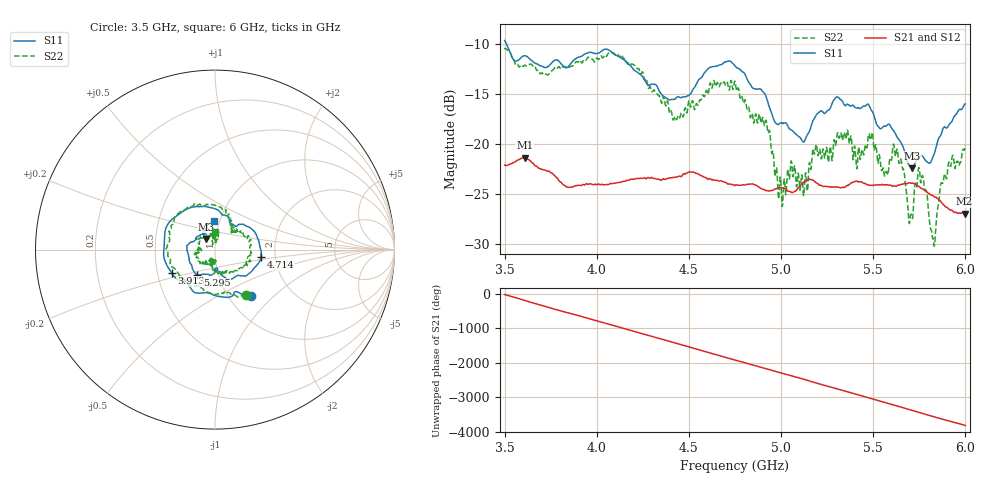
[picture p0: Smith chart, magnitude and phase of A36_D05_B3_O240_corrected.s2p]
! Created with skrf 1.9.0 (http://scikit-rf.org).
# Hz S RI R 50.0
!freq ReS11 ImS11 ReS21 ImS21 ReS12 ImS12 ReS22 ImS22
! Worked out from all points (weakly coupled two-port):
!   1601 points, 3.5 GHz to 6 GHz, reference 50 ohm
!   highest |S21| = -21.33 dB at 3.609 GHz (marker M1); lowest = -26.9 dB at 5.995 GHz (marker M2)
!   lowest |S11| = -22.4 dB at 5.713 GHz (marker M3), VSWR 1.16, Z = 45.2 + j5.39 ohm
!   |S11| at or under -10 dB: 3.511 GHz to end of sweep
!   |S22| runs from -30.2 to -10.4 dB; largest |S21 - S12| = 0.0009
!   S11 on the Smith chart (normalised r, x): 3.5 GHz: 1.27, -0.74; 3.913 GHz: 0.59, -0.17; 4.714 GHz: 1.68, -0.15; 5.295 GHz: 0.79, -0.23; 6 GHz: 0.94, +0.31
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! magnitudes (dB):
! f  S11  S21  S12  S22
! 3.5 GHz  -9.6  -22.1  -22.1  -10.4
! 3.609 GHz  -11.1  -21.3  -21.3  -12.1
! 3.913 GHz  -11.2  -24.1  -24.1  -11.7
! 3.917 GHz  -11.2  -24.1  -24.1  -11.9
! 4.127 GHz  -11.3  -23.8  -23.8  -11.3
! 4.334 GHz  -14.5  -23.5  -23.4  -15.1
! 4.425 GHz  -15.5  -23.3  -23.3  -17.3
! 4.714 GHz  -11.7  -24.0  -24.0  -14.3
! 4.75 GHz  -12.2  -24.1  -24.0  -13.7
! 4.928 GHz  -15.8  -24.6  -24.6  -18.8
! 4.997 GHz  -17.9  -24.3  -24.3  -23.3
! 5.167 GHz  -17.9  -23.5  -23.5  -21.5
! 5.295 GHz  -15.4  -24.2  -24.2  -20.1
! 5.486 GHz  -16.4  -24.1  -24.1  -19.6
! 5.584 GHz  -18.0  -24.1  -24.0  -22.3
! 5.62 GHz  -18.9  -24.2  -24.2  -21.2
! 5.713 GHz  -22.4  -23.9  -23.8  -27.4
! 5.756 GHz  -21.2  -24.3  -24.3  -23.7
! 5.828 GHz  -21.1  -25.2  -25.2  -29.9
! 5.877 GHz  -18.5  -25.9  -25.9  -23.9
! 5.995 GHz  -16.0  -26.9  -26.8  -20.6
! 6 GHz  -16.0  -26.9  -26.9  -20.1
